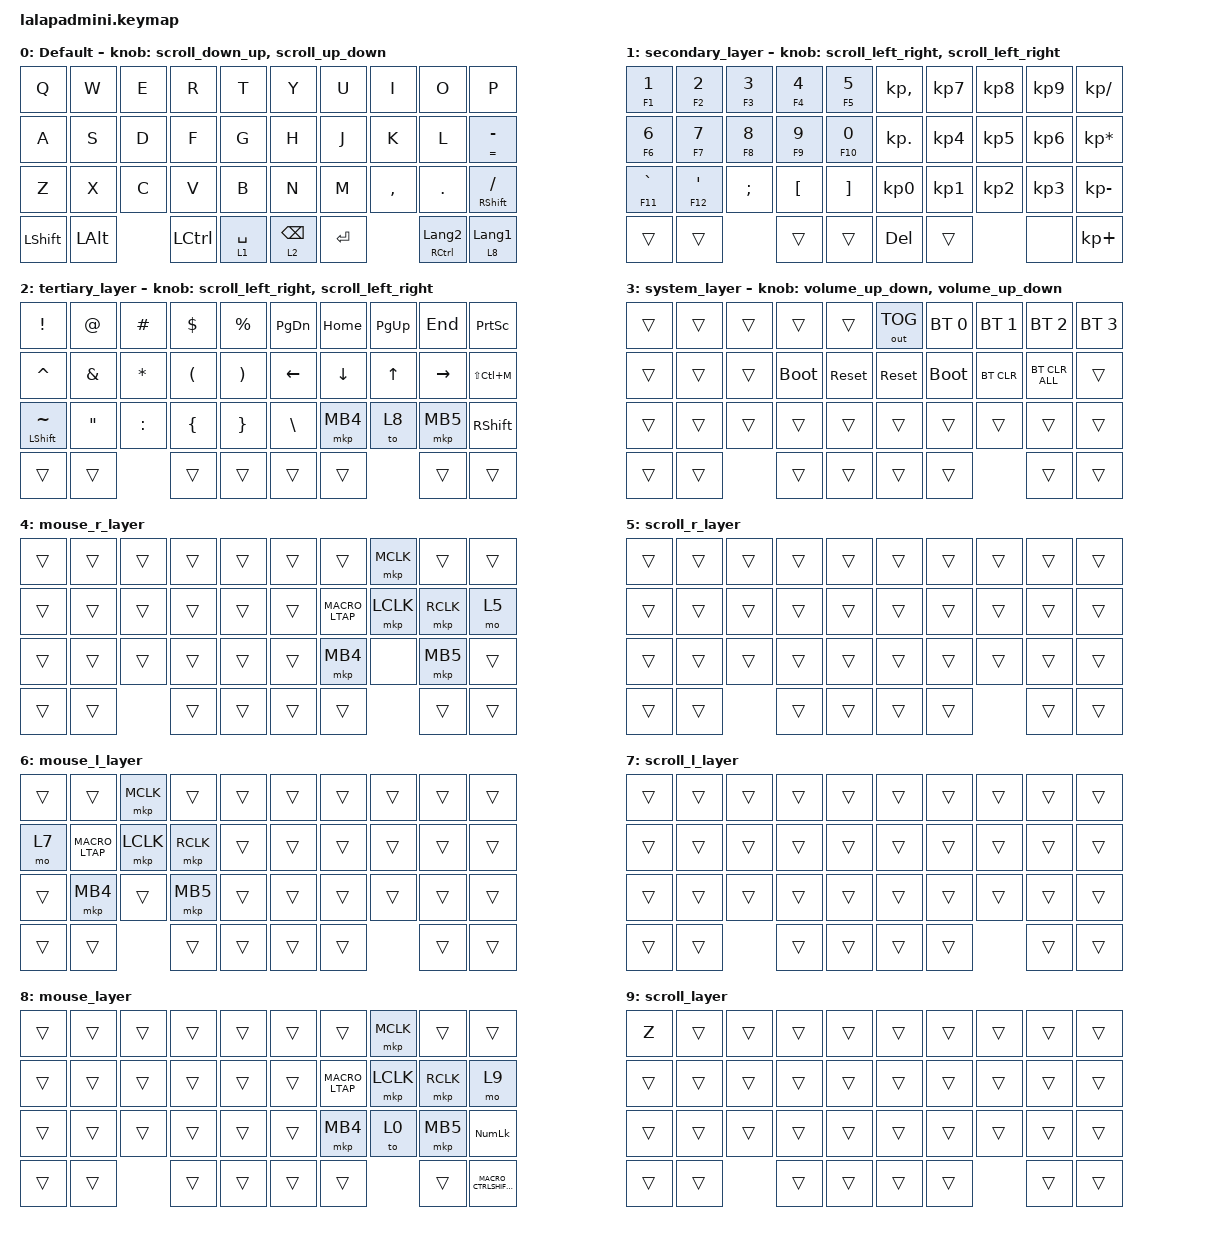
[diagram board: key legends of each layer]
#include <input/processors.dtsi>
#include <behaviors.dtsi>
#include <dt-bindings/zmk/bt.h>
#include <dt-bindings/zmk/keys.h>
#include <dt-bindings/zmk/outputs.h>
#include <dt-bindings/zmk/pointing.h>

#define DEFAULT_LAYER   0
#define SECONDARY_LAYER 1
#define TERTIARY_LAYER  2
#define SYSTEM_LAYER    3
#define MOUSE_R_LAYER   4
#define SCROLL_R_LAYER  5
#define MOUSE_L_LAYER   6
#define SCROLL_L_LAYER  7
#define MOUSE_LAYER     8
#define SCROLL_LAYER    9

// Mouse Scroll Value

#define ZMK_POINTING_DEFAULT_SCRL_VAL 100

// cirque trackpad input&layer control

&glidepoint_listener_R {
    input-processors =
        <&zip_xy_transform (INPUT_TRANSFORM_XY_SWAP | INPUT_TRANSFORM_X_INVERT | INPUT_TRANSFORM_Y_INVERT)>,
        <&zip_xy_scaler 3 2>,
        <&zip_temp_layer MOUSE_R_LAYER 300>;

    lowspeedmode {
        layers = <SECONDARY_LAYER>;
        input-processors =
            <&zip_xy_transform (INPUT_TRANSFORM_XY_SWAP | INPUT_TRANSFORM_X_INVERT | INPUT_TRANSFORM_Y_INVERT)>,
            <&zip_xy_scaler 3 5>,
            <&zip_temp_layer MOUSE_R_LAYER 300>;
    };

    /* 新規：scroller と同じ設定で別レイヤーを追加（感度は同じ） */

    scroller2 {
        layers = <SCROLL_LAYER>;
        input-processors =
            <&zip_xy_to_scroll_mapper>,
            <&zip_scroll_transform (INPUT_TRANSFORM_XY_SWAP | INPUT_TRANSFORM_Y_INVERT)>,
            <&zip_scroll_scaler 1 32>;
    };

    mousemode {
        layers = <MOUSE_LAYER>;
        input-processors =
            <&zip_xy_transform (INPUT_TRANSFORM_XY_SWAP | INPUT_TRANSFORM_X_INVERT | INPUT_TRANSFORM_Y_INVERT)>,
            <&zip_xy_scaler 3 2>;
    };

    scroller {
        layers = <SCROLL_R_LAYER>;
        input-processors =
            <&zip_xy_to_scroll_mapper>,
            <&zip_scroll_transform (INPUT_TRANSFORM_XY_SWAP | INPUT_TRANSFORM_Y_INVERT)>,
            <&zip_scroll_scaler 1 32>;
    };
};

&glidepoint_listener_L {
    input-processors =
        <&zip_xy_transform (INPUT_TRANSFORM_XY_SWAP | INPUT_TRANSFORM_X_INVERT | INPUT_TRANSFORM_Y_INVERT)>,
        <&zip_xy_scaler 3 2>,
        <&zip_temp_layer MOUSE_L_LAYER 300>;

    lowspeedmode {
        layers = <TERTIARY_LAYER>;
        input-processors =
            <&zip_xy_transform (INPUT_TRANSFORM_XY_SWAP | INPUT_TRANSFORM_X_INVERT | INPUT_TRANSFORM_Y_INVERT)>,
            <&zip_xy_scaler 3 4>,
            <&zip_temp_layer MOUSE_L_LAYER 300>;
    };

    scroller {
        layers = <SCROLL_L_LAYER>;
        input-processors =
            <&zip_xy_to_scroll_mapper>,
            <&zip_scroll_transform (INPUT_TRANSFORM_XY_SWAP | INPUT_TRANSFORM_Y_INVERT)>,
            <&zip_scroll_scaler 1 32>;
    };
};

&mt { quick-tap-ms = <200>; };

&lt { quick-tap-ms = <200>; };

/ {
    behaviors {
        // Encoder to Mouse Scroll

        scroll_up_down: behavior_sensor_rotate_mouse_wheel_up_down {
            compatible = "zmk,behavior-sensor-rotate";
            #sensor-binding-cells = <0>;
            bindings = <&msc SCRL_UP>, <&msc SCRL_DOWN>;

            tap-ms = <20>;
        };

        scroll_down_up: behavior_sensor_rotate_mouse_wheel_down_up {
            compatible = "zmk,behavior-sensor-rotate";
            #sensor-binding-cells = <0>;
            bindings = <&msc SCRL_DOWN>, <&msc SCRL_UP>;

            tap-ms = <20>;
        };

        scroll_left_right: behavior_sensor_rotate_mouse_wheel_left_right {
            compatible = "zmk,behavior-sensor-rotate";
            #sensor-binding-cells = <0>;
            bindings = <&msc SCRL_LEFT>, <&msc SCRL_RIGHT>;

            tap-ms = <20>;
        };

        scroll_right_left: behavior_sensor_rotate_mouse_wheel_right_left {
            compatible = "zmk,behavior-sensor-rotate";
            #sensor-binding-cells = <0>;
            bindings = <&msc SCRL_RIGHT>, <&msc SCRL_LEFT>;

            tap-ms = <20>;
        };

        volume_up_down: behavior_sensor_rotate_volume_up_down {
            compatible = "zmk,behavior-sensor-rotate";
            #sensor-binding-cells = <0>;
            bindings = <&kp C_VOLUME_UP>, <&kp C_VOLUME_DOWN>;

            tap-ms = <20>;
        };

        mt2: mod_tap2 {
            compatible = "zmk,behavior-hold-tap";
            #binding-cells = <2>;
            flavor = "tap-preferred";
            tapping-term-ms = <200>;
            quick-tap-ms = <200>;
            require-prior-idle-ms = <125>;
            bindings = <&kp>, <&kp>;
        };

        tap_dance_layer_1and2: tap_dance_layer_1and2 {
            compatible = "zmk,behavior-tap-dance";
            label = "td_mo12";
            #binding-cells = <0>;
            bindings = <&mo 1>, <&mo 2>;
        };
    };

    combos {
        compatible = "zmk,combos";

        CONBO_ESC {
            bindings = <&kp ESCAPE>;
            key-positions = <0 1>;
        };

        COMBO_TAB {
            bindings = <&kp TAB>;
            key-positions = <20 21>;
        };

        COMBO_WIN {
            bindings = <&kp LWIN>;
            key-positions = <30 31>;
        };
    };

    macros {
        MACRO_LTAP: MACRO_LTAP {
            compatible = "zmk,behavior-macro";
            #binding-cells = <0>;
            bindings = <&mkp LCLK>;
            label = "MACRO_LTAP";
        };

        /* ここに Ctrl+Shift+M を送るマクロを追加 */

        MACRO_CTRLSHIFT_M: MACRO_CTRLSHIFT_M {
            compatible = "zmk,behavior-macro";
            #binding-cells = <0>;

            /* 左Ctrl, 左Shift, M を順に送る */

            bindings = <&kp LCTRL &kp LEFT_SHIFT &kp M>;
            label = "MACRO_CTRLSHIFT_M";
        };
    };

    keymap {
        compatible = "zmk,keymap";

        DEFAULT_LAYER {
            display-name = "Default";
            sensor-bindings = <&scroll_down_up>, <&scroll_up_down>;

            bindings = <
&kp Q           &kp W         &kp E  &kp R      &kp T        &kp Y            &kp U      &kp I      &kp O                 &kp P
&kp A           &kp S         &kp D  &kp F      &kp G        &kp H            &kp J      &kp K      &kp L                 &mt2 EQUAL MINUS
&kp Z           &kp X         &kp C  &kp V      &kp B        &kp N            &kp M      &kp COMMA  &kp PERIOD            &mt RSHIFT SLASH
&kp LEFT_SHIFT  &kp LEFT_ALT         &kp LCTRL  &lt 1 SPACE  &lt 2 BACKSPACE  &kp ENTER             &mt RCTRL LANGUAGE_2  &lt 8 LANGUAGE_1
            >;
        };

        SECONDARY_LAYER {
            display-name = "secondary_layer";
            sensor-bindings = <&scroll_left_right>, <&scroll_left_right>;

            bindings = <
&mt2 F1 NUMBER_1  &mt2 F2 NUMBER_2  &mt2 F3 NUMBER_3  &mt2 F4 NUMBER_4  &mt2 F5 N5         &kp KP_COMMA     &kp KP_NUMBER_7  &kp KP_NUMBER_8  &kp KP_NUMBER_9  &kp KP_DIVIDE
&mt2 F6 NUMBER_6  &mt2 F7 N7        &mt2 F8 N8        &mt2 F9 N9        &mt2 F10 N0        &kp KP_DOT       &kp KP_NUMBER_4  &kp KP_NUMBER_5  &kp KP_NUMBER_6  &kp KP_ASTERISK
&mt2 F11 GRAVE    &mt2 F12 SQT      &kp SEMICOLON     &kp LEFT_BRACKET  &kp RIGHT_BRACKET  &kp KP_NUMBER_0  &kp KP_NUMBER_1  &kp KP_NUMBER_2  &kp KP_NUMBER_3  &kp KP_MINUS
&trans            &trans                              &trans            &trans             &kp DELETE       &trans                            &none            &kp KP_PLUS
            >;
        };

        TERTIARY_LAYER {
            display-name = "tertiary_layer";
            bindings = <
&kp EXCLAMATION       &kp AT_SIGN        &kp HASH      &kp DOLLAR            &kp PERCENT            &kp PAGE_DOWN  &kp HOME  &kp PAGE_UP    &kp END    &kp PRINTSCREEN
&kp CARET             &kp AMPERSAND      &kp ASTERISK  &kp LEFT_PARENTHESIS  &kp RIGHT_PARENTHESIS  &kp LEFT       &kp DOWN  &kp UP_ARROW   &kp RIGHT  &kp LS(LC(M))
&mt LEFT_SHIFT TILDE  &kp DOUBLE_QUOTES  &kp COLON     &kp LEFT_BRACE        &kp RIGHT_BRACE        &kp BACKSLASH  &mkp MB4  &to 8          &mkp MB5   &kp RIGHT_SHIFT
&trans                &trans                           &trans                &trans                 &trans         &trans                   &trans     &trans
            >;

            sensor-bindings = <&scroll_left_right>, <&scroll_left_right>;
        };

        SYSTEM_LAYER {
            display-name = "system_layer";
            sensor-bindings = <&volume_up_down>, <&volume_up_down>;

            bindings = <
&trans  &trans  &trans  &trans       &trans      &out OUT_TOG  &bt BT_SEL 0  &bt BT_SEL 1  &bt BT_SEL 2    &bt BT_SEL 3
&trans  &trans  &trans  &bootloader  &sys_reset  &sys_reset    &bootloader   &bt BT_CLR    &bt BT_CLR_ALL  &trans
&trans  &trans  &trans  &trans       &trans      &trans        &trans        &trans        &trans          &trans
&trans  &trans          &trans       &trans      &trans        &trans                      &trans          &trans
            >;
        };

        MOUSE_R_LAYER {
            display-name = "mouse_r_layer";
            bindings = <
&trans  &trans  &trans  &trans  &trans  &trans  &trans       &mkp MCLK  &trans     &trans
&trans  &trans  &trans  &trans  &trans  &trans  &MACRO_LTAP  &mkp LCLK  &mkp RCLK  &mo 5
&trans  &trans  &trans  &trans  &trans  &trans  &mkp MB4     &none      &mkp MB5   &trans
&trans  &trans          &trans  &trans  &trans  &trans                  &trans     &trans
            >;
        };

        SCROLL_R_LAYER {
            display-name = "scroll_r_layer";
            bindings = <
&trans  &trans  &trans  &trans  &trans  &trans  &trans  &trans  &trans  &trans
&trans  &trans  &trans  &trans  &trans  &trans  &trans  &trans  &trans  &trans
&trans  &trans  &trans  &trans  &trans  &trans  &trans  &trans  &trans  &trans
&trans  &trans          &trans  &trans  &trans  &trans          &trans  &trans
            >;
        };

        MOUSE_L_LAYER {
            display-name = "mouse_l_layer";
            bindings = <
&trans  &trans       &mkp MCLK  &trans     &trans  &trans  &trans  &trans  &trans  &trans
&mo 7   &MACRO_LTAP  &mkp LCLK  &mkp RCLK  &trans  &trans  &trans  &trans  &trans  &trans
&trans  &mkp MB4     &trans     &mkp MB5   &trans  &trans  &trans  &trans  &trans  &trans
&trans  &trans                  &trans     &trans  &trans  &trans          &trans  &trans
            >;
        };

        SCROLL_L_LAYER {
            display-name = "scroll_l_layer";
            bindings = <
&trans  &trans  &trans  &trans  &trans  &trans  &trans  &trans  &trans  &trans
&trans  &trans  &trans  &trans  &trans  &trans  &trans  &trans  &trans  &trans
&trans  &trans  &trans  &trans  &trans  &trans  &trans  &trans  &trans  &trans
&trans  &trans          &trans  &trans  &trans  &trans          &trans  &trans
            >;
        };

        MOUSE_LAYER {
            display-name = "mouse_layer";
            bindings = <
&trans  &trans  &trans  &trans  &trans  &trans  &trans       &mkp MCLK  &trans     &trans
&trans  &trans  &trans  &trans  &trans  &trans  &MACRO_LTAP  &mkp LCLK  &mkp RCLK  &mo 9
&trans  &trans  &trans  &trans  &trans  &trans  &mkp MB4     &to 0      &mkp MB5   &kp KP_NUMLOCK
&trans  &trans          &trans  &trans  &trans  &trans                  &trans     &MACRO_CTRLSHIFT_M
            >;
        };

        SCROLL_LAYER {
            display-name = "scroll_layer";
            bindings = <
&kp Z   &trans  &trans  &trans  &trans  &trans  &trans  &trans  &trans  &trans
&trans  &trans  &trans  &trans  &trans  &trans  &trans  &trans  &trans  &trans
&trans  &trans  &trans  &trans  &trans  &trans  &trans  &trans  &trans  &trans
&trans  &trans          &trans  &trans  &trans  &trans          &trans  &trans
            >;
        };
    };

    conditional_layers {
        compatible = "zmk,conditional-layers";

        System_layer {
            if-layers = <1 2>;
            then-layer = <3>;
        };
    };
};
